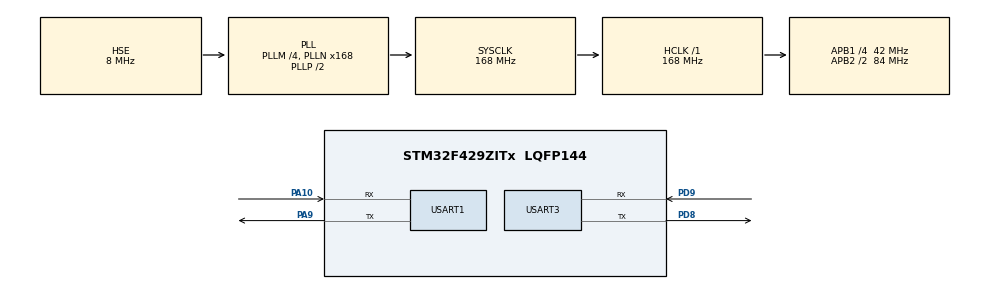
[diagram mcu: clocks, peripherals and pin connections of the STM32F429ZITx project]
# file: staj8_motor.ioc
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Mcu.Family=STM32F4
Mcu.Name=STM32F429ZITx
Mcu.Package=LQFP144
NVIC.PriorityGroup=NVIC_PRIORITYGROUP_4
PA10.Mode=Asynchronous
PA10.Signal=USART1_RX
PA13.Mode=Serial_Wire
PA13.Signal=SYS_JTMS-SWDIO
PA14.Mode=Serial_Wire
PA14.Signal=SYS_JTCK-SWCLK
PA9.Mode=Asynchronous
PA9.Signal=USART1_TX
PD8.Mode=Asynchronous
PD8.Signal=USART3_TX
PD9.Mode=Asynchronous
PD9.Signal=USART3_RX
PH0/OSC_IN.Mode=HSE-External-Oscillator
PH0/OSC_IN.Signal=RCC_OSC_IN
PH1/OSC_OUT.Mode=HSE-External-Oscillator
PH1/OSC_OUT.Signal=RCC_OSC_OUT
ProjectManager.HeapSize=0x200
ProjectManager.StackSize=0x400
ProjectManager.TargetToolchain=STM32CubeIDE
RCC.48MHZClocksFreq_Value=84000000
RCC.AHBFreq_Value=168000000
RCC.APB1CLKDivider=RCC_HCLK_DIV4
RCC.APB1Freq_Value=42000000
RCC.APB1TimFreq_Value=84000000
RCC.APB2CLKDivider=RCC_HCLK_DIV2
RCC.APB2Freq_Value=84000000
RCC.APB2TimFreq_Value=168000000
RCC.CortexFreq_Value=168000000
RCC.HCLKFreq_Value=168000000
RCC.HSE_VALUE=8000000
RCC.HSI_VALUE=16000000
RCC.LSE_VALUE=32768
RCC.PLLM=4
RCC.PLLN=168
RCC.PLLSourceVirtual=RCC_PLLSOURCE_HSE
RCC.SYSCLKFreq_VALUE=168000000
RCC.SYSCLKSource=RCC_SYSCLKSOURCE_PLLCLK
RCC.VCOOutputFreq_Value=336000000
USART1.VirtualMode=VM_ASYNC
USART3.VirtualMode=VM_ASYNC
board=custom

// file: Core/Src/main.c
/* USER CODE BEGIN Header */
/**
 ******************************************************************************
 * @file           : main.c
 * @brief          : Main program body
 ******************************************************************************
 * @attention
 *
 * Copyright (c) 2026 STMicroelectronics.
 * All rights reserved.
 *
 * This software is licensed under terms that can be found in the LICENSE file
 * in the root directory of this software component.
 * If no LICENSE file comes with this software, it is provided AS-IS.
 *
 ******************************************************************************
 */
/* USER CODE END Header */
#include "main.h"
#include "usart.h"
#include "gpio.h"

/* USER CODE BEGIN Includes */
#include "stdio.h"
#include "string.h"

/* USER CODE END Includes */

void SystemClock_Config(void);
/* USER CODE BEGIN PFP */
void send_reset(uint32_t axis_id);
void send_enable(uint32_t axis_id);
void send_get_digital_inputs(uint32_t axis_id);
void send_get_digitaoutputs(uint32_t axis_id);
void send_set_acceleration(uint32_t axis_id, int32_t accel);
void send_speed_move(uint32_t axis_id, uint32_t speed);
void send_get_param(uint32_t axis_id, uint8_t addr0, uint8_t addr1);
void send_get_encoder_counter(uint32_t axis_id, uint8_t addr0, uint8_t addr1);
void send_set_can_options(uint32_t axis_id, uint32_t options_value);

/* USER CODE END PFP */

int main(void) {

	/* MCU Configuration--------------------------------------------------------*/

	/* Reset of all peripherals, Initializes the Flash interface and the Systick. */
	HAL_Init();

	/* Configure the system clock */
	SystemClock_Config();

	/* Initialize all configured peripherals */
	MX_GPIO_Init();
	MX_USART1_UART_Init();
	MX_USART3_UART_Init();

	/* Infinite loop */
	/* USER CODE BEGIN WHILE */

	send_set_acceleration(0, 100000);

	HAL_Delay(100);

	send_enable(0);              // group 0 all-call
	HAL_Delay(500);

	while (1) {

		send_speed_move(0, 1000);   // group 0 all-call
		HAL_Delay(1000);

		send_get_param(2, 0x33, 0x20);
		send_get_param(3, 0x33, 0x20);

//		send_speed_move(0, 50);   // group 0 all-call
//		HAL_Delay(5000);

		/* USER CODE END WHILE */

	}
}

void SystemClock_Config(void) {
	RCC_OscInitTypeDef RCC_OscInitStruct = { 0 };
	RCC_ClkInitTypeDef RCC_ClkInitStruct = { 0 };

	/** Configure the main internal regulator output voltage
	 */
	__HAL_RCC_PWR_CLK_ENABLE();
	__HAL_PWR_VOLTAGESCALING_CONFIG(PWR_REGULATOR_VOLTAGE_SCALE1);

	/** Initializes the RCC Oscillators according to the specified parameters
	 * in the RCC_OscInitTypeDef structure.
	 */
	RCC_OscInitStruct.OscillatorType = RCC_OSCILLATORTYPE_HSE;
	RCC_OscInitStruct.HSEState = RCC_HSE_ON;
	RCC_OscInitStruct.PLL.PLLState = RCC_PLL_ON;
	RCC_OscInitStruct.PLL.PLLSource = RCC_PLLSOURCE_HSE;
	RCC_OscInitStruct.PLL.PLLM = 4;
	RCC_OscInitStruct.PLL.PLLN = 168;
	RCC_OscInitStruct.PLL.PLLP = RCC_PLLP_DIV2;
	RCC_OscInitStruct.PLL.PLLQ = 4;
	if (HAL_RCC_OscConfig(&RCC_OscInitStruct) != HAL_OK) {
		Error_Handler();
	}

	/** Initializes the CPU, AHB and APB buses clocks
	 */
	RCC_ClkInitStruct.ClockType = RCC_CLOCKTYPE_HCLK | RCC_CLOCKTYPE_SYSCLK
			| RCC_CLOCKTYPE_PCLK1 | RCC_CLOCKTYPE_PCLK2;
	RCC_ClkInitStruct.SYSCLKSource = RCC_SYSCLKSOURCE_PLLCLK;
	RCC_ClkInitStruct.AHBCLKDivider = RCC_SYSCLK_DIV1;
	RCC_ClkInitStruct.APB1CLKDivider = RCC_HCLK_DIV4;
	RCC_ClkInitStruct.APB2CLKDivider = RCC_HCLK_DIV2;

	if (HAL_RCC_ClockConfig(&RCC_ClkInitStruct, FLASH_LATENCY_5) != HAL_OK) {
		Error_Handler();
	}
}

/* USER CODE BEGIN 4 */
void send_reset(uint32_t axis_id) {
	uint8_t uartFrame[6];

	uint32_t priority = 3;
	uint32_t service_bit = 1;
	uint32_t request_bit = 1;
	uint32_t service_id = 0xFF;
	uint32_t axis_id_group = (axis_id == 0) ? 0 : 1;
	uint32_t dest_id = (axis_id == 0) ? 0 : axis_id;
	uint32_t source_id = 10;

	uint32_t ExtId = (priority << 26) | (service_bit << 25)
			| (request_bit << 24) | (service_id << 16) | (axis_id_group << 15)
			| (dest_id << 8) | (source_id << 0);

	uartFrame[0] = (ExtId >> 24) & 0xFF;
	uartFrame[1] = (ExtId >> 16) & 0xFF;
	uartFrame[2] = (ExtId >> 8) & 0xFF;
	uartFrame[3] = (ExtId >> 0) & 0xFF;
	uartFrame[4] = 1;
	uartFrame[5] = 0x01;

	HAL_UART_Transmit(&huart1, uartFrame, 6, HAL_MAX_DELAY);
	//HAL_UART_Transmit(&huart3, uartFrame, 6, HAL_MAX_DELAY);
}

void send_enable(uint32_t axis_id) {
	uint8_t uartFrame[6];
	uint8_t rx[7];
	char buffer[160];

	uint32_t priority = 3;
	uint32_t service_bit = 1;
	uint32_t request_bit = 1;
	uint32_t service_id = 0x00;
	uint32_t axis_id_group = (axis_id == 0) ? 0 : 1;
	uint32_t dest_id = (axis_id == 0) ? 0 : axis_id;
	uint32_t source_id = 10;

	uint32_t ExtId = (priority << 26) | (service_bit << 25)
			| (request_bit << 24) | (service_id << 16) | (axis_id_group << 15)
			| (dest_id << 8) | (source_id << 0);

	uartFrame[0] = (ExtId >> 24) & 0xFF;
	uartFrame[1] = (ExtId >> 16) & 0xFF;
	uartFrame[2] = (ExtId >> 8) & 0xFF;
	uartFrame[3] = (ExtId >> 0) & 0xFF;
	uartFrame[4] = 1;
	uartFrame[5] = 0x01;

	sprintf(buffer, "ENABLE TX: %02X %02X %02X %02X %02X %02X\r\n",
			uartFrame[0], uartFrame[1], uartFrame[2], uartFrame[3],
			uartFrame[4], uartFrame[5]);

	HAL_UART_Transmit(&huart3, (uint8_t*) buffer, strlen(buffer),
	HAL_MAX_DELAY);

	HAL_UART_Transmit(&huart1, uartFrame, 6, HAL_MAX_DELAY);

	memset(rx, 0, sizeof(rx));
	HAL_UART_Receive(&huart1, rx, 7, 200);

	sprintf(buffer, "ENABLE RX: %02X %02X %02X %02X %02X %02X %02X\r\n", rx[0],
			rx[1], rx[2], rx[3], rx[4], rx[5], rx[6]);

	HAL_UART_Transmit(&huart3, (uint8_t*) buffer, strlen(buffer),
	HAL_MAX_DELAY);
}
void send_get_digital_inputs(uint32_t axis_id) {
	uint8_t uartFrame[7];
	uint8_t rxByte[7];
	char rxBuffer[50];

	uint32_t priority = 3;
	uint32_t service_bit = 1;
	uint32_t request_bit = 1;
	uint32_t service_id = 0x30;
	uint32_t axis_id_group = (axis_id == 0) ? 0 : 1;
	uint32_t dest_id = (axis_id == 0) ? 0 : axis_id;
	uint32_t source_id = 10;

	uint32_t ExtId = (priority << 26) | (service_bit << 25)
			| (request_bit << 24) | (service_id << 16) | (axis_id_group << 15)
			| (dest_id << 8) | (source_id << 0);

	uartFrame[0] = (ExtId >> 24) & 0xFF;
	uartFrame[1] = (ExtId >> 16) & 0xFF;
	uartFrame[2] = (ExtId >> 8) & 0xFF;
	uartFrame[3] = (ExtId >> 0) & 0xFF;
	uartFrame[4] = 4;
	uartFrame[5] = 0x11;
	uartFrame[6] = 0x20; //00 11 20 01 00 00 00

	HAL_UART_Transmit(&huart1, uartFrame, 7, HAL_MAX_DELAY);
	memset(rxByte, 0, sizeof(rxByte));
	HAL_UART_Receive(&huart1, rxByte, 7, 100);

	sprintf(rxBuffer, "RX: %02X %02X %02X %02X %02X %02X %02X\r\n", rxByte[0],
			rxByte[1], rxByte[2], rxByte[3], rxByte[4], rxByte[5], rxByte[6]);

	HAL_UART_Transmit(&huart3, (uint8_t*) rxBuffer, strlen(rxBuffer),
	HAL_MAX_DELAY);
}

void send_get_digitaoutputs(uint32_t axis_id) {

	uint8_t uartFrame[7];
//	uint8_t rxByte[7];
//	char rxBuffer[50];

	uint32_t priority = 3;
	uint32_t service_bit = 1;
	uint32_t request_bit = 1;
	uint32_t service_id = 0x30;
	uint32_t axis_id_group = (axis_id == 0) ? 0 : 1;
	uint32_t dest_id = (axis_id == 0) ? 0 : axis_id;
	uint32_t source_id = 10;

	uint32_t ExtId = (priority << 26) | (service_bit << 25)
			| (request_bit << 24) | (service_id << 16) | (axis_id_group << 15)
			| (dest_id << 8) | (source_id << 0);

	uartFrame[0] = (ExtId >> 24) & 0xFF;
	uartFrame[1] = (ExtId >> 16) & 0xFF;
	uartFrame[2] = (ExtId >> 8) & 0xFF;
	uartFrame[3] = (ExtId >> 0) & 0xFF;
	uartFrame[4] = 4;
	uartFrame[5] = 0x12;
	uartFrame[6] = 0x21; //00 11 20 01 00 00 00

	HAL_UART_Transmit(&huart1, uartFrame, 7, HAL_MAX_DELAY);
//	memset(rxByte, 0, sizeof(rxByte));
//	HAL_UART_Receive(&huart1, rxByte, 7, 100);
//
//	sprintf(rxBuffer, "can out RX: %02X %02X %02X %02X %02X %02X %02X\r\n",
//			rxByte[0], rxByte[1], rxByte[2], rxByte[3], rxByte[4], rxByte[5],
//			rxByte[6]);

//	HAL_UART_Transmit(&huart3, (uint8_t*) rxBuffer, strlen(rxBuffer),
//	HAL_MAX_DELAY);

}

void send_get_encoder_counter(uint32_t axis_id, uint8_t addr0, uint8_t addr1) {
	uint8_t uartFrame[7];
	uint8_t rxByte[11];
	char rxBuffer[100];
	int32_t encoder_counter = 0;

	uint32_t priority = 3;
	uint32_t service_bit = 1;
	uint32_t request_bit = 1;
	uint32_t service_id = 0x30;
	uint32_t axis_id_group = (axis_id == 0) ? 0 : 1;
	uint32_t dest_id = (axis_id == 0) ? 0 : axis_id;
	uint32_t source_id = 10;

	uint32_t ExtId = (priority << 26) | (service_bit << 25)
			| (request_bit << 24) | (service_id << 16) | (axis_id_group << 15)
			| (dest_id << 8) | (source_id << 0);

	uartFrame[0] = (ExtId >> 24) & 0xFF;
	uartFrame[1] = (ExtId >> 16) & 0xFF;
	uartFrame[2] = (ExtId >> 8) & 0xFF;
	uartFrame[3] = (ExtId >> 0) & 0xFF;

	uartFrame[4] = 4;       // 32-bit read
	uartFrame[5] = addr0;
	uartFrame[6] = addr1;

	HAL_UART_Transmit(&huart1, uartFrame, 7, HAL_MAX_DELAY);

	memset(rxByte, 0, sizeof(rxByte));
	HAL_UART_Receive(&huart1, rxByte, 11, 200);

	encoder_counter = ((rxByte[7] << 24) | (rxByte[8] << 16) | (rxByte[9] << 8)
			| rxByte[10]);

	sprintf(rxBuffer,
			"Axis %lu RX: %02X %02X %02X %02X %02X %02X %02X %02X %02X %02X %02X | Counter: %ld\r\n",
			(unsigned long) axis_id, rxByte[0], rxByte[1], rxByte[2], rxByte[3],
			rxByte[4], rxByte[5], rxByte[6], rxByte[7], rxByte[8], rxByte[9],
			rxByte[10], (long) encoder_counter);

	HAL_UART_Transmit(&huart3, (uint8_t*) rxBuffer, strlen(rxBuffer),
	HAL_MAX_DELAY);

}
void send_get_param(uint32_t axis_id, uint8_t addr0, uint8_t addr1) {
	uint8_t uartFrame[7];
	uint8_t responseFrame[12] = { 0 };
	char txBuffer[80];

	uint32_t priority = 3;
	uint32_t service_bit = 1;
	uint32_t request_bit = 1;
	uint32_t service_id = 0x30;
	uint32_t axis_id_group = (axis_id == 0) ? 0 : 1;
	uint32_t dest_id = (axis_id == 0) ? 0 : axis_id;
	uint32_t source_id = 10;

	uint32_t ExtId = (priority << 26) | (service_bit << 25)
			| (request_bit << 24) | (service_id << 16) | (axis_id_group << 15)
			| (dest_id << 8) | (source_id << 0);

	uartFrame[0] = (ExtId >> 0) & 0xFF;
	uartFrame[1] = (ExtId >> 8) & 0xFF;
	uartFrame[2] = (ExtId >> 16) & 0xFF;
	uartFrame[3] = (ExtId >> 24) & 0xFF;

	uartFrame[4] = 4;       // 32-bit read
	uartFrame[5] = addr0;
	uartFrame[6] = addr1;

	HAL_UART_Transmit(&huart1, uartFrame, 7, HAL_MAX_DELAY);

	HAL_StatusTypeDef status = HAL_UART_Receive(&huart1, responseFrame, 8, 200);

	if (status == HAL_OK) {
		int32_t encoder_value = (responseFrame[6] << 24)
				| (responseFrame[7] << 16) | (responseFrame[8] << 8)
				| responseFrame[9];

		sprintf(txBuffer, "Sira: %02X %02X %02X %02X | Deger: %ld\r\n",
				responseFrame[6], responseFrame[7], responseFrame[8],
				responseFrame[9], encoder_value);
		HAL_UART_Transmit(&huart3, (uint8_t*) txBuffer, strlen(txBuffer), 100);

	}

	else {
		// Cevap gelmezse hata bas
		sprintf(txBuffer, "Hata: Surucu cevap vermedi (Status: %d)\r\n",
				status);
		HAL_UART_Transmit(&huart3, (uint8_t*) txBuffer, strlen(txBuffer), 100);
	}
}

void send_set_acceleration(uint32_t axis_id, int32_t accel) {
	uint8_t uartFrame[11];
//	uint8_t rx[7];
	//char buffer[60];

	uint32_t priority = 3;
	uint32_t service_bit = 1;
	uint32_t request_bit = 1;
	uint32_t service_id = 0x20;
	uint32_t axis_id_group = (axis_id == 0) ? 0 : 1;
	uint32_t dest_id = (axis_id == 0) ? 0 : axis_id;
	uint32_t source_id = 10;

	uint32_t ExtId = (priority << 26) | (service_bit << 25)
			| (request_bit << 24) | (service_id << 16) | (axis_id_group << 15)
			| (dest_id << 8) | (source_id << 0);

	uartFrame[0] = (ExtId >> 24) & 0xFF;
	uartFrame[1] = (ExtId >> 16) & 0xFF;
	uartFrame[2] = (ExtId >> 8) & 0xFF;
	uartFrame[3] = (ExtId >> 0) & 0xFF;

	uartFrame[4] = 4;

	uartFrame[5] = 0xA1;
	uartFrame[6] = 0x04;

	uartFrame[7] = (accel >> 0) & 0xFF;
	uartFrame[8] = (accel >> 8) & 0xFF;
	uartFrame[9] = (accel >> 16) & 0xFF;
	uartFrame[10] = (accel >> 24) & 0xFF;

	HAL_UART_Transmit(&huart1, uartFrame, 11, HAL_MAX_DELAY);

//	memset(rx, 0, sizeof(rx));
//	HAL_UART_Receive(&huart1, rx, 7, 200);
//
//	sprintf(buffer, "ACC RX: %02X %02X %02X %02X %02X %02X %02X\r\n", rx[0],
//			rx[1], rx[2], rx[3], rx[4], rx[5], rx[6]);
//	HAL_UART_Transmit(&huart3, (uint8_t*) buffer, strlen(buffer),
//	HAL_MAX_DELAY);

}

void send_set_can_options(uint32_t axis_id, uint32_t options_value) {
	uint8_t uartFrame[11];
	uint8_t rx[7];
	char buffer[80];

	uint32_t priority = 3;
	uint32_t service_bit = 1;
	uint32_t request_bit = 1;
	uint32_t service_id = 0x20;      // SET
	uint32_t axis_id_group = (axis_id == 0) ? 0 : 1;
	uint32_t dest_id = (axis_id == 0) ? 0 : axis_id;
	uint32_t source_id = 10;

	uint32_t ExtId = (priority << 26) | (service_bit << 25)
			| (request_bit << 24) | (service_id << 16) | (axis_id_group << 15)
			| (dest_id << 8) | (source_id << 0);

	uartFrame[0] = (ExtId >> 24) & 0xFF;
	uartFrame[1] = (ExtId >> 16) & 0xFF;
	uartFrame[2] = (ExtId >> 8) & 0xFF;
	uartFrame[3] = (ExtId >> 0) & 0xFF;

	uartFrame[4] = 4;       // uint32 length
	uartFrame[5] = 0xAA;    // Addr0
	uartFrame[6] = 0x04;    // Addr1

	uartFrame[7] = (options_value >> 0) & 0xFF;
	uartFrame[8] = (options_value >> 8) & 0xFF;
	uartFrame[9] = (options_value >> 16) & 0xFF;
	uartFrame[10] = (options_value >> 24) & 0xFF;

	HAL_UART_Transmit(&huart1, uartFrame, 11, HAL_MAX_DELAY);

	memset(rx, 0, sizeof(rx));
	HAL_UART_Receive(&huart1, rx, 7, 200);

	sprintf(buffer, "CAN OPT RX: %02X %02X %02X %02X %02X %02X %02X\r\n", rx[0],
			rx[1], rx[2], rx[3], rx[4], rx[5], rx[6]);

	HAL_UART_Transmit(&huart3, (uint8_t*) buffer, strlen(buffer),
	HAL_MAX_DELAY);
}

void send_speed_move(uint32_t axis_id, uint32_t speed) {
	uint8_t uartFrame[9];
	uint8_t rx[7];
	char buffer[60];

	uint32_t priority = 3;
	uint32_t service_bit = 1;
	uint32_t request_bit = 1;
	uint32_t service_id = 0x41;
	uint32_t axis_id_group = (axis_id == 0) ? 0 : 1;
	uint32_t dest_id = (axis_id == 0) ? 0 : axis_id;
	uint32_t source_id = 10;

	uint32_t ExtId = (priority << 26) | (service_bit << 25)
			| (request_bit << 24) | (service_id << 16) | (axis_id_group << 15)
			| (dest_id << 8) | (source_id << 0);

	int32_t speed_iu = speed * 2048;

	uartFrame[0] = (ExtId >> 24) & 0xFF;
	uartFrame[1] = (ExtId >> 16) & 0xFF;
	uartFrame[2] = (ExtId >> 8) & 0xFF;
	uartFrame[3] = (ExtId >> 0) & 0xFF;

	uartFrame[4] = 0x20;

	// Mevcut sırayı ters çevirip denemek için:
	uartFrame[5] = (speed_iu >> 0) & 0xFF;
	uartFrame[6] = (speed_iu >> 8) & 0xFF;
	uartFrame[7] = (speed_iu >> 16) & 0xFF;
	uartFrame[8] = (speed_iu >> 24) & 0xFF;

//	sprintf(buffer, "MOVE TX: %02X %02X %02X %02X %02X %02X %02X %02X %02X\r\n",
//			uartFrame[0], uartFrame[1], uartFrame[2], uartFrame[3],
//			uartFrame[4], uartFrame[5], uartFrame[6], uartFrame[7],
//			uartFrame[8]);
//
//	HAL_UART_Transmit(&huart3, (uint8_t*) buffer, strlen(buffer),
//	HAL_MAX_DELAY);

	HAL_UART_Transmit(&huart1, uartFrame, 9, HAL_MAX_DELAY);

//	memset(rx, 0, sizeof(rx));
//	HAL_UART_Receive(&huart1, rx, 7, 200);
//
//	sprintf(buffer, "MOVE RX: %02X %02X %02X %02X %02X %02X %02X\r\n", rx[0],
//			rx[1], rx[2], rx[3], rx[4], rx[5], rx[6]);
//
//	HAL_UART_Transmit(&huart3, (uint8_t*) buffer, strlen(buffer),
//	HAL_MAX_DELAY);
}
/* USER CODE END 4 */

void Error_Handler(void) {
	__disable_irq();
	while (1) {
	}
}
